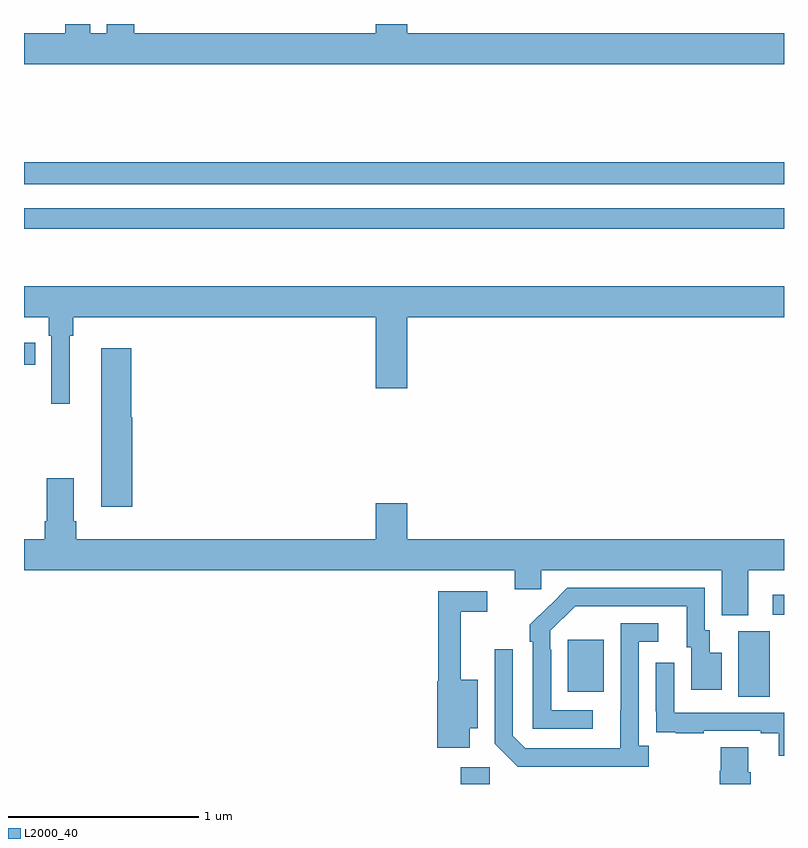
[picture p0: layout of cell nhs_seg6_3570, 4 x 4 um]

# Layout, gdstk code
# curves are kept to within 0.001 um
import gdstk
lib = gdstk.Library(unit=1e-6, precision=1e-09)
def R(c, l, rs):  # rectangles x0, y0, x1, y1
    for r in rs: c.add(gdstk.rectangle(r[:2], r[2:], *l))
def P(c, l, *ps):  # polygons
    for p in ps: c.add(gdstk.Polygon(p, *l))
L2000_40 = (2000, 40)

nhs_seg6_3570 = lib.new_cell('nhs_seg6_3570')
R(nhs_seg6_3570, L2000_40, [(321.299,991.5,321.45,991.588), (322.76,991.96,322.924,992.304), (321.863,991.985,322.051,992.26), (322.941,992.391,323,992.497), (319,993.706,319.058,993.822), (319,994.422,323,994.53), (319,994.656,323,994.772)])
P(nhs_seg6_3570, L2000_40, [(323,995.452),(321.016,995.452),(321.016,995.5),(320.852,995.5),(320.852,995.452),(319.58,995.452),(319.58,995.5),(319.436,995.5),(319.436,995.452),(319.348,995.452),(319.348,995.5),(319.217,995.5),(319.217,995.452),(319,995.452),(319,995.288),(323,995.288)],
  [(319.24,993.86),(319.259,993.86),(319.259,993.956),(320.852,993.956),(320.852,993.582),(321.016,993.582),(321.016,993.956),(323,993.956),(323,994.12),(319,994.12),(319,993.956),(319.13,993.956),(319.13,993.86),(319.143,993.86),(319.143,993.501),(319.24,993.501)],
  [(319.57,993.429),(319.565,993.429),(319.565,993.793),(319.406,993.793),(319.406,992.958),(319.57,992.958)],
  [(322.813,992.624),(323,992.624),(323,992.788),(321.016,992.788),(321.016,992.977),(320.852,992.977),(320.852,992.788),(319.274,992.788),(319.274,992.884),(319.261,992.884),(319.261,993.109),(319.121,993.109),(319.121,992.884),(319.109,992.884),(319.109,992.788),(319,992.788),(319,992.624),(321.584,992.624),(321.584,992.526),(321.723,992.526),(321.723,992.624),(322.673,992.624),(322.673,992.389),(322.813,992.389)],
  [(321.994,991.887),(321.774,991.887),(321.774,992.207),(321.771,992.207),(321.771,992.307),(321.9,992.436),(322.487,992.436),(322.487,992.22),(322.511,992.22),(322.511,991.995),(322.672,991.995),(322.672,992.191),(322.609,992.191),(322.609,992.31),(322.584,992.31),(322.584,992.532),(321.86,992.532),(321.663,992.337),(321.663,992.249),(321.678,992.249),(321.678,991.791),(321.994,991.791)],
  [(321.346,991.793),(321.388,991.793),(321.388,992.05),(321.299,992.05),(321.299,992.406),(321.439,992.406),(321.439,992.514),(321.181,992.514),(321.181,992.04),(321.176,992.04),(321.176,991.692),(321.346,991.692)],
  [(322.288,991.702),(322.236,991.702),(322.236,992.25),(322.339,992.25),(322.339,992.346),(322.14,992.346),(322.139,991.689),(321.639,991.689),(321.573,991.755),(321.573,992.209),(321.477,992.209),(321.477,991.713),(321.598,991.592),(322.288,991.592)],
  [(323,991.875),(322.422,991.875),(322.422,992.137),(322.326,992.137),(322.326,991.882),(322.327,991.882),(322.327,991.773),(322.429,991.773),(322.429,991.767),(322.577,991.767),(322.577,991.779),(322.877,991.779),(322.877,991.767),(322.973,991.767),(322.973,991.65),(323,991.65)],
  [(322.826,991.562),(322.813,991.562),(322.813,991.694),(322.666,991.694),(322.666,991.569),(322.661,991.569),(322.661,991.5),(322.826,991.5)])

lib.write_gds('nhs_seg6_3570.gds')
